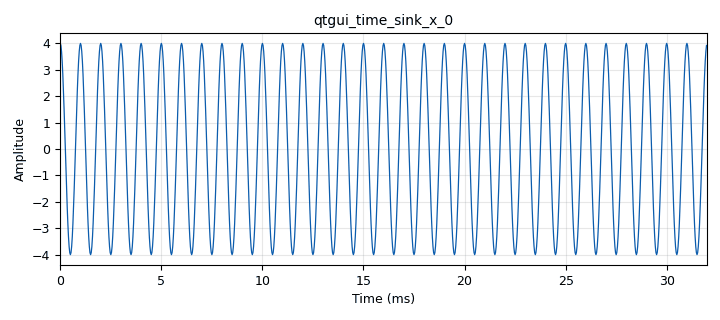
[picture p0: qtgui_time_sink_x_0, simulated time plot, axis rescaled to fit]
options:
  parameters:
    generate_options: qt_gui
    id: pruebasrecibirsocket
    output_language: python
    title: eso
  states: {}

blocks:
- name: samp_rate
  id: variable
  parameters:
    value: '32000'
  states: {}
- name: analog_sig_source_x_0
  id: analog_sig_source_x
  parameters:
    amp: '1'
    freq: '1000'
    offset: '0'
    phase: '0'
    samp_rate: samp_rate
    type: float
    waveform: analog.GR_COS_WAVE
  states: {}
- name: epy_block_0
  id: epy_block
  parameters:
    _source_code: |
      """
      Embedded Python Blocks:

      Each time this file is saved, GRC will instantiate the first class it finds
      to get ports and parameters of your block. The arguments to __init__  will
      be the parameters. All of them are required to have default values!
      """

      import numpy as np
      from gnuradio import gr
      import pmt
      from datetime import datetime, timedelta
      import time

      class blk(gr.sync_block):  # other base classes are basic_block, decim_block, interp_block
          """Embedded Python Block example - a simple multiply const"""

          def __init__(self, example_param=1.0):  # only default arguments here
              """arguments to this function show up as parameters in GRC"""
              gr.sync_block.__init__(
                  self,
                  name='Embedded Python Block',   # will show up in GRC
                  in_sig=[np.float32],
                  out_sig=[np.float32]
              )
              # if an attribute with the same name as a parameter is found,
              # a callback is registered (properties work, too).
              self.example_param = example_param
              self.portName = 'msg_in'
              self.message_port_register_in(pmt.intern(self.portName))
              self.set_msg_handler(pmt.intern("msg_in"), self.process_message)
              self.lim = 10
              self.time_elapsed = -1
              self.variable = [-1, -1]
              
          def process_message(self, message):
              # Retrieve message payload and save it to a variable
              self.variable = pmt.to_python(message)
              print("llego ", self.variable, self.time_elapsed.total_seconds())

          def work(self, input_items, output_items):
              """example: multiply with constant"""
              current_utc_time = datetime.utcnow()
              start_of_minute = current_utc_time.replace(second=0, microsecond=0)
              self.time_elapsed = current_utc_time - start_of_minute
              milliseconds_elapsed = self.time_elapsed.total_seconds() * 1000
              
              #if int(self.time_elapsed.total_seconds())%5 == 0:
              #    print(self.variable, self.time_elapsed.total_seconds())
              #    time.sleep(0.5)
              
              output_items[0][:] = input_items[0] * 2
              
              return len(output_items[0])
    example_param: '1.0'
  states: {}
- name: epy_block_1
  id: epy_block
  parameters:
    _source_code: |
      """
      Embedded Python Blocks:

      Each time this file is saved, GRC will instantiate the first class it finds
      to get ports and parameters of your block. The arguments to __init__  will
      be the parameters. All of them are required to have default values!
      """

      import numpy as np
      from gnuradio import gr
      import pmt
      from datetime import datetime, timedelta

      class blk(gr.sync_block):  # other base classes are basic_block, decim_block, interp_block
          """Embedded Python Block example - a simple multiply const"""

          def __init__(self, example_param=1.0):  # only default arguments here
              """arguments to this function show up as parameters in GRC"""
              gr.sync_block.__init__(
                  self,
                  name='Embedded Python Block',   # will show up in GRC
                  in_sig=[np.float32],
                  out_sig=[np.float32]
              )
              # if an attribute with the same name as a parameter is found,
              # a callback is registered (properties work, too).
              self.example_param = example_param
              self.portName = 'msg_out'
              self.message_port_register_out(pmt.intern(self.portName))
              self.counter = 0
              self.lim = 10
              self.current_slot = -1
              self.slots_per_minute = 2250

          def work(self, input_items, output_items):
              """example: multiply with constant"""
              current_utc_time = datetime.utcnow()
              start_of_minute = current_utc_time.replace(second=0, microsecond=0)
              time_elapsed = current_utc_time - start_of_minute
              milliseconds_elapsed = time_elapsed.total_seconds() * 1000
              self.current_slot = int((milliseconds_elapsed)*self.slots_per_minute/60000) #Cantidad de slots desde que empezó el minuto.
              
              if int(time_elapsed.total_seconds())%5 == 0:
                  self.counter = self.counter + 1
                  PMT_msg = pmt.to_pmt(np.full(2, self.counter).tolist())
                  self.message_port_pub(pmt.intern(self.portName), PMT_msg)
                  print("enviado ", self.counter, time_elapsed.total_seconds())
              
              output_items[0][:] = input_items[0] * 2
              
              return len(output_items[0])
    example_param: '1.0'
  states: {}
- name: qtgui_time_sink_x_0
  id: qtgui_time_sink_x
  parameters:
    size: '1024'
    srate: samp_rate
    type: float
  states: {}

connections:
- [analog_sig_source_x_0, '0', epy_block_0, '0']
- [epy_block_0, '0', epy_block_1, '0']
- [epy_block_1, '0', qtgui_time_sink_x_0, '0']
- [epy_block_1, msg_out, epy_block_0, msg_in]

metadata:
  file_format: 1
